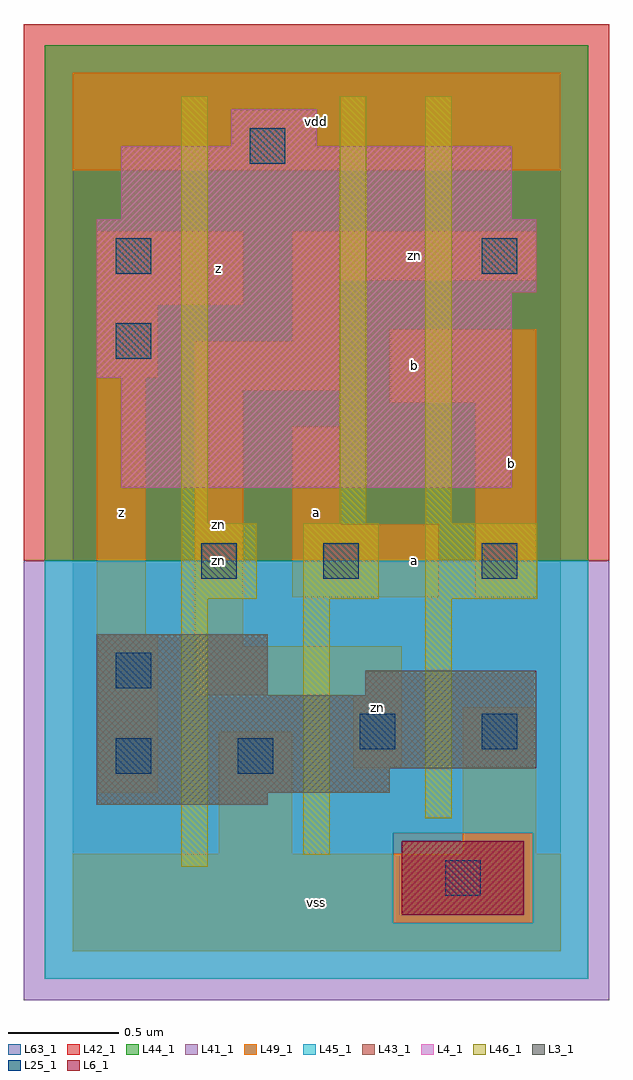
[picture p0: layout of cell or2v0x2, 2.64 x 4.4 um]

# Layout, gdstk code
import gdstk
lib = gdstk.Library(unit=1e-6, precision=1e-09)
def R(c, l, rs):  # rectangles x0, y0, x1, y1
    for r in rs: c.add(gdstk.rectangle(r[:2], r[2:], *l))
L3_1 = (3, 1)
L4_1 = (4, 1)
L6_1 = (6, 1)
L25_1 = (25, 1)
L41_1 = (41, 1)
L42_1 = (42, 1)
L43_1 = (43, 1)
L44_1 = (44, 1)
L45_1 = (45, 1)
L46_1 = (46, 1)
L49_1 = (49, 1)
L63_1 = (63, 1)

or2v0x2 = lib.new_cell('or2v0x2')
R(or2v0x2, L3_1, [(0.11,0.66,0.88,0.715), (0.11,0.715,1.43,0.825), (0.11,0.825,2.09,1.155), (0.11,1.155,0.88,1.43), (1.32,1.155,2.09,1.265)])
R(or2v0x2, L4_1, [(0.22,2.09,1.98,2.585), (0.11,2.585,1.98,2.97), (0.11,2.97,2.09,3.3), (0.22,3.3,1.98,3.63), (0.715,3.63,1.1,3.795)])
R(or2v0x2, L6_1, [(1.485,0.165,2.035,0.495)])
R(or2v0x2, L25_1, [(1.68,0.25,1.84,0.41), (0.195,0.8,0.355,0.96), (0.745,0.8,0.905,0.96), (1.295,0.91,1.455,1.07), (1.845,0.91,2.005,1.07), (0.195,1.185,0.355,1.345), (0.58,1.68,0.74,1.84), (1.13,1.68,1.29,1.84), (1.845,1.68,2.005,1.84), (0.195,2.67,0.355,2.83), (0.195,3.055,0.355,3.215), (1.845,3.055,2.005,3.215), (0.8,3.55,0.96,3.71)])
R(or2v0x2, L41_1, [(-0.22,-0.22,2.42,1.76)])
R(or2v0x2, L42_1, [(-0.22,1.76,2.42,4.18)])
R(or2v0x2, L43_1, [(1.485,0.165,2.035,0.495), (0.11,0.66,0.88,0.715), (0.11,0.715,1.43,0.825), (0.11,0.825,2.09,1.155), (0.11,1.155,0.88,1.43), (1.32,1.155,2.09,1.265), (0.22,2.09,1.98,2.585), (0.11,2.585,1.98,2.97), (0.11,2.97,2.09,3.3), (0.22,3.3,1.98,3.63), (0.715,3.63,1.1,3.795)])
R(or2v0x2, L44_1, [(1.445,0.125,2.075,0.535), (-0.125,1.76,2.325,4.085)])
R(or2v0x2, L45_1, [(-0.125,-0.125,2.325,0.125), (-0.125,0.125,1.445,0.535), (2.075,0.125,2.325,0.535), (-0.125,0.535,2.325,1.76)])
R(or2v0x2, L46_1, [(0.49,0.38,0.61,1.59), (1.04,0.435,1.16,1.59), (1.59,0.6,1.71,1.59), (0.49,1.59,0.83,1.93), (1.04,1.59,1.38,1.93), (1.59,1.59,2.095,1.93), (0.49,1.93,0.61,3.855), (1.205,1.93,1.325,3.855), (1.59,1.93,1.71,3.855)])
R(or2v0x2, L49_1, [(0,0,2.2,0.44), (0.66,0.44,0.99,0.99), (1.76,0.44,2.09,1.1), (0.11,0.715,0.385,1.43), (1.265,0.825,1.485,1.155), (0.55,1.155,1.485,1.375), (0.55,1.375,0.77,2.53), (0.11,1.43,0.33,2.585), (0.99,1.595,1.65,1.925), (1.815,1.595,2.09,2.475), (0.99,1.925,1.21,2.365), (1.43,2.475,2.09,2.805), (0.55,2.53,1.21,2.75), (0.11,2.585,0.385,2.915), (0.99,2.75,1.21,3.025), (0.11,2.915,0.77,3.245), (0.99,3.025,2.09,3.245), (0,3.52,2.2,3.96)])
R(or2v0x2, L63_1, [(0,0,2.2,3.96)])
or2v0x2.add(gdstk.Label('zn', (0.66,1.76), layer=49, texttype=1))
or2v0x2.add(gdstk.Label('z', (0.22,1.98), layer=49, texttype=1))
or2v0x2.add(gdstk.Label('zn', (0.66,1.925), layer=49, texttype=1))
or2v0x2.add(gdstk.Label('z', (0.66,3.08), layer=49, texttype=1))
or2v0x2.add(gdstk.Label('vss', (1.1,0.22), layer=49, texttype=1))
or2v0x2.add(gdstk.Label('zn', (1.375,1.1), layer=49, texttype=1))
or2v0x2.add(gdstk.Label('a', (1.54,1.76), layer=49, texttype=1))
or2v0x2.add(gdstk.Label('a', (1.1,1.98), layer=49, texttype=1))
or2v0x2.add(gdstk.Label('b', (1.54,2.64), layer=49, texttype=1))
or2v0x2.add(gdstk.Label('vdd', (1.1,3.74), layer=49, texttype=1))
or2v0x2.add(gdstk.Label('b', (1.98,2.2), layer=49, texttype=1))
or2v0x2.add(gdstk.Label('zn', (1.54,3.135), layer=49, texttype=1))

lib.write_gds('or2v0x2.gds')
